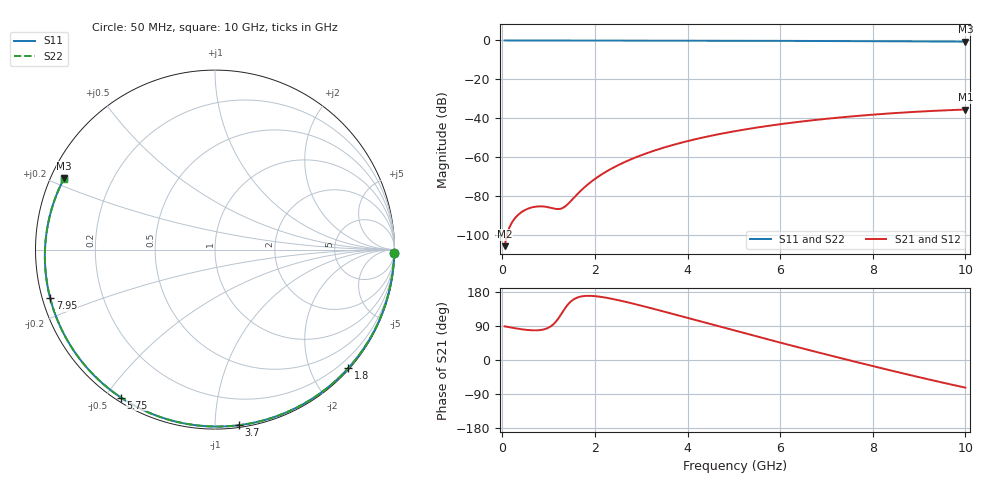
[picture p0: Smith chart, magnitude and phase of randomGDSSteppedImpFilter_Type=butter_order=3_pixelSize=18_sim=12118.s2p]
! freq	dB(S11)	phase(S11)	dB(S12)	phase(S12)
!  dB(S21)	phase(S21)	dB(S22)	phase(S22)
!S-par simulation data
#  GHz  S  DB  R 50
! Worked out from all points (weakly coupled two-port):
!   200 points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, 50 MHz to 10 GHz, reference 50 ohm
!   highest |S21| = -35.56 dB at 10 GHz (marker M1); lowest = -105.9 dB at 50 MHz (marker M2)
!   lowest |S11| = -0.6 dB at 10 GHz (marker M3), VSWR 27.54, Z = 1.91 + j11.2 ohm
!   |S11| at or under -10 dB: nowhere
!   |S22| runs from -0.6 to 0.0 dB; largest |S21 - S12| = 0
!   S11 on the Smith chart (normalised r, x): 50 MHz: open; 1.8 GHz: 0.02, -2.63; 3.7 GHz: 0.01, -1.14; 5.75 GHz: 0.02, -0.55; 7.95 GHz: 0.02, -0.14; 10 GHz: 0.04, +0.22
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0.05  -0.00 -1.1  -105.93 88.8  -105.93 88.8  -0.00 -1.1
0.45  -0.02 -10.6  -87.87 80.6  -87.87 80.6  -0.02 -10.6
0.8  -0.02 -18.8  -85.43 78.7  -85.43 78.7  -0.02 -18.8
1.55  -0.05 -36.0  -80.90 160.6  -80.90 160.6  -0.05 -36.0
1.6  -0.05 -37.1  -79.65 163.7  -79.65 163.7  -0.05 -37.1
1.75  -0.05 -40.5  -76.15 168.5  -76.15 168.5  -0.05 -40.5
1.8  -0.05 -41.6  -75.09 169.1  -75.09 169.1  -0.05 -41.6
2.1  -0.06 -48.3  -69.69 167.1  -69.69 167.1  -0.06 -48.3
2.45  -0.07 -56.0  -64.85 159.4  -64.85 159.4  -0.07 -56.0
2.9  -0.08 -65.7  -60.02 146.5  -60.02 146.5  -0.08 -65.7
3.4  -0.10 -76.2  -55.83 130.7  -55.83 130.7  -0.10 -76.2
3.7  -0.11 -82.4  -53.71 121.0  -53.71 121.0  -0.11 -82.4
4.35  -0.13 -95.4  -49.89 99.6  -49.89 99.6  -0.13 -95.4
5.05  -0.17 -109.1  -46.61 76.6  -46.61 76.6  -0.17 -109.1
5.75  -0.20 -122.4  -43.96 53.9  -43.96 53.9  -0.20 -122.4
6.7  -0.27 -140.1  -41.10 23.8  -41.10 23.8  -0.27 -140.1
7.35  -0.32 -152.2  -39.53 3.6  -39.53 3.6  -0.32 -152.2
7.95  -0.38 -163.6  -38.31 -14.6  -38.31 -14.6  -0.38 -163.5
8.35  -0.42 -171.3  -37.61 -26.5  -37.61 -26.5  -0.42 -171.2
9.2  -0.52 171.7  -36.39 -51.0  -36.39 -51.0  -0.52 171.9
9.6  -0.57 163.3  -35.94 -62.2  -35.94 -62.2  -0.57 163.5
10  -0.63 154.6  -35.56 -72.9  -35.56 -72.9  -0.63 154.8
